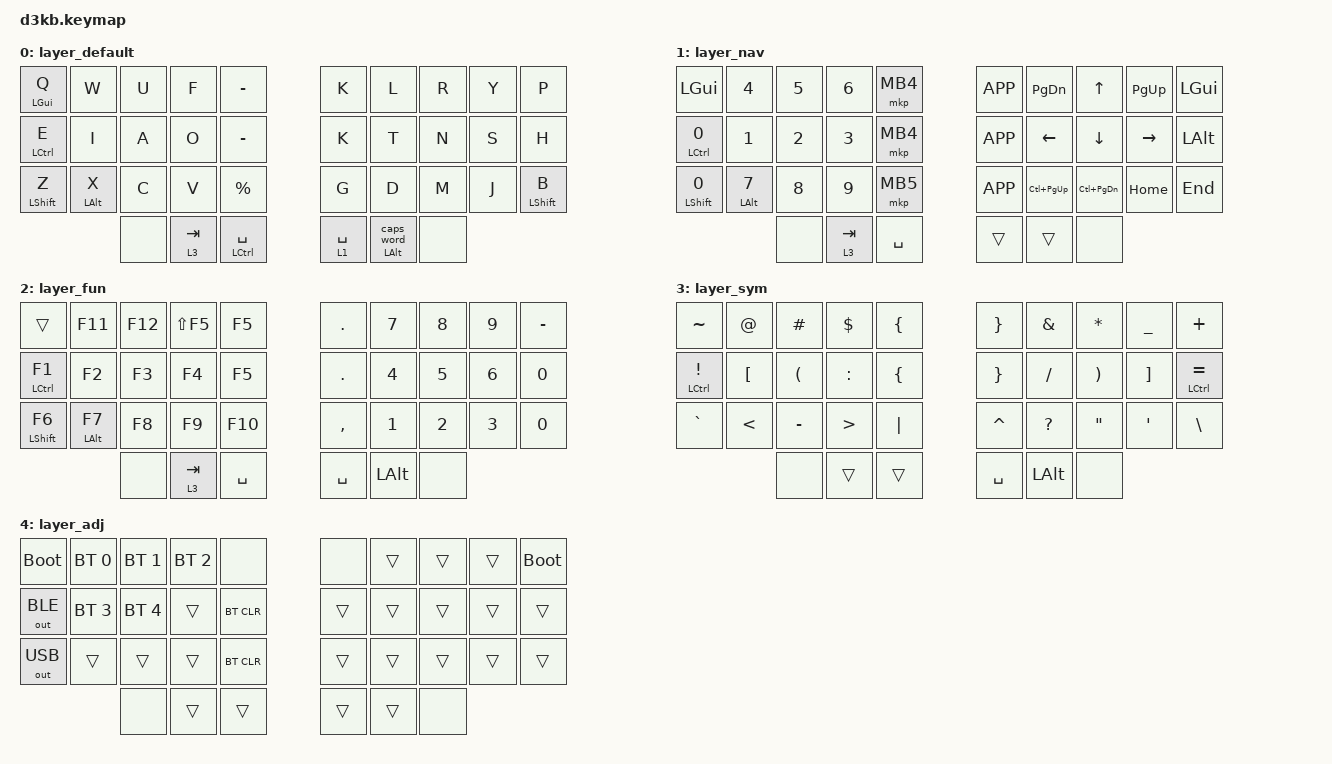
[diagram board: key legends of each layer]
#include <behaviors.dtsi>
#include <dt-bindings/zmk/keys.h>
#include <dt-bindings/zmk/bt.h>
#include <dt-bindings/zmk/outputs.h>
#include <dt-bindings/zmk/mouse.h>

#define LDEF 0
#define LNAV 1
#define LFUN 2
#define LSYM 3
#define LADJ 4


&mt {
    tapping-term-ms = <175>;
    flavor = "tap-preferred";
};

&lt {
    tapping-term-ms = <175>;
    flavor = "balanced";
};


&caps_word {
    continue-list = <UNDERSCORE MINUS BACKSPACE>;
};

/ {

    behaviors {
        mcap: behavior_mo_tog {
            compatible = "zmk,behavior-hold-tap";
            #binding-cells = <2>;
            flavor = "tap-preferred";
            tapping-term-ms = <200>;
            bindings = <&kp>, <&caps_word>;
        };
    };

    combos{
        compatible = "zmk,combos";
        timeout-ms = <200>;

        // left 
        // T 1 2 3 4 *    | 00 01 02 03 **
        // M 1 2 3 4 5    | 10 11 12 13 14
        // B 1 2 3 4 5 6  | 20 21 22 23 24 32
        combo_left_234T {
            key-positions = <1 2 3>;
            bindings = <&sl LADJ>;
        };
        combo_left_23T {
            key-positions = <1 2>;
            bindings = <&kp ESC>;
        };
        combo_left_23M {
            key-positions = <11 12>;
            bindings = <&mo LFUN>;
        };
        combo_left_34M {
            key-positions = <12 13>;
            bindings = <&mo LFUN>;
        };
        combo_left_24M {
            key-positions = <11 13>;
            bindings = <&mo LFUN>;
        };
        // right 
        // T * * 2 3 4 5  | ** ** 06 07 08 09
        // M * 1 2 3 4 5  | ** 15 16 17 18 19
        // B 0 1 2 3 4 5  | 33 25 26 27 28 29
        combo_right_23M {
            key-positions = <16 17>;
            bindings = <&kp BSPC>;
        };
        combo_right_34M {
            key-positions = <17 18>;
            bindings = <&kp RET>;
        };
        combo_right_2TM {
            key-positions = <6 16>;
            bindings = <&kp COMMA>;
        };
        combo_right_3TM {
            key-positions = < 7 17>;
            bindings = <&kp DOT>;
        };
        combo_right_4TM {
            key-positions = < 8 18>;
            bindings = <&kp SEMI>;
        };
        combo_right_5TM {
            key-positions = <26 27>;
            bindings = <&kp DEL>;
        };
    };

    keymap {
        compatible = "zmk,keymap";

        layer_default {
            bindings = <
            &mt LGUI Q  &kp W       &kp U       &kp F       &kp MINUS           &kp K      &kp L       &kp R       &kp Y      &kp P        
            &mt LCTRL E &kp I       &kp A       &kp O       &kp MINUS           &kp K      &kp T       &kp N       &kp S       &kp H       
            &mt LSHFT Z &mt LALT X  &kp C       &kp V       &kp PRCNT           &kp G      &kp D       &kp M       &kp J       &mt LSHFT B 
                                    &none       &lt 3 TAB   &mt LCTRL SPACE     &lt 1 SPACE &mcap LALT  0 &none
            >;
        };

        layer_nav {
            bindings = <
            &kp LGUI     &kp N4      &kp N5      &kp N6       &mkp MB4          &kp K_APP  &kp PG_DN     &kp UP        &kp PG_UP    &kp LGUI    
            &mt LCTRL N0 &kp N1      &kp N2      &kp N3       &mkp MB4          &kp K_APP  &kp LEFT      &kp DOWN      &kp RIGHT    &kp LALT
            &mt LSHFT N0 &mt LALT N7 &kp N8      &kp N9       &mkp MB5          &kp K_APP  &kp LC(PG_UP) &kp LC(PG_DN) &kp HOME     &kp END    
                                     &none       &lt 3 TAB   &kp SPACE          &trans      &trans       &none
            >;
        };

        layer_fun {
            bindings = <
            &trans       &kp F11     &kp F12     &kp LS(F5)   &kp F5             &kp DOT    &kp N7      &kp N8      &kp N9     &kp MINUS  
            &mt LCTRL F1 &kp F2      &kp F3      &kp F4       &kp F5             &kp DOT    &kp N4      &kp N5      &kp N6      &kp N0      
            &mt LSHFT F6 &mt LALT F7 &kp F8      &kp F9       &kp F10            &kp COMMA  &kp N1      &kp N2      &kp N3      &kp N0      
                                     &none       &lt 3 TAB   &kp SPACE           &kp SPACE  &kp LALT    &none
            >;
        };

        layer_sym {
            bindings = <
            &kp TILDE      &kp AT   &kp HASH    &kp DLLR    &kp LBRC            &kp RBRC    &kp AMPS    &kp STAR    &kp UNDER   &kp PLUS 
            &mt LCTRL EXCL &kp LBKT &kp LPAR    &kp COLON   &kp LBRC            &kp RBRC    &kp FSLH    &kp RPAR    &kp RBKT    &mt LCTRL EQUAL 
            &kp GRAVE      &kp LT   &kp MINUS   &kp GT      &kp PIPE            &kp CARET   &kp QMARK   &kp DQT     &kp SQT     &kp BSLH    
                                    &none       &trans      &trans              &kp SPACE   &kp LALT    &none
            >;
        };

        layer_adj {
            bindings = <
            &bootloader  &bt BT_SEL 0 &bt BT_SEL 1 &bt BT_SEL 2  &none            &none    &trans      &trans      &trans      &bootloader
            &out OUT_BLE &bt BT_SEL 3 &bt BT_SEL 4 &trans        &bt BT_CLR       &trans   &trans      &trans      &trans      &trans 
            &out OUT_USB &trans     &trans      &trans           &bt BT_CLR       &trans   &trans      &trans      &trans      &trans      
                                    &none       &trans      &trans              &trans     &trans     &none
            >;
        };
    };
};

